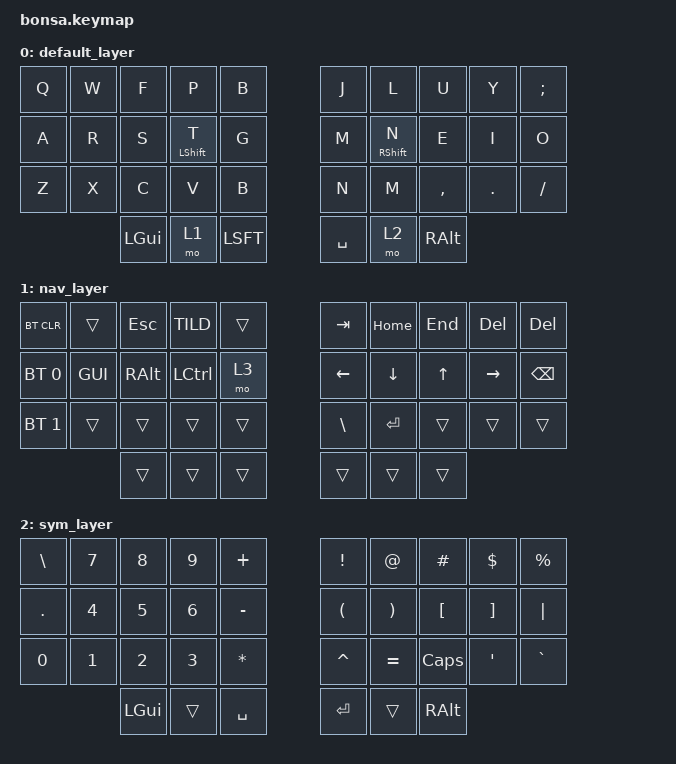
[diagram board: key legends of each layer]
/*
 * Copyright (c) 2020 The ZMK Contributors
 *
 * SPDX-License-Identifier: MIT
 */

#include <behaviors.dtsi>
#include <dt-bindings/zmk/keys.h>
#include <dt-bindings/zmk/bt.h>

#define default_layer 0
#define nav_layer   1
#define sym_layer   2

&mt {
    tapping_term_ms = <130>;
};

/ {
        keymap {
                compatible = "zmk,keymap";

                default_layer {

                        bindings = <
   &kp Q &kp W &kp F &kp P        &kp B         &kp J &kp L         &kp U      &kp Y   &kp SCLN
   &kp A &kp R &kp S &mt LSHIFT T &kp G         &kp M &mt RSHIFT N  &kp E      &kp I   &kp O
   &kp Z &kp X &kp C &kp V        &kp B         &kp N &kp M         &kp COMMA  &kp DOT &kp FSLH
               &kp LGUI &mo 1 &kp LSFT          &kp SPC &mo 2 &kp RALT
                        >;
                };
                nav_layer {

                        bindings = <
   &bt BT_CLR   &trans  &kp ESC  &kp TILD &trans      &kp TAB   &kp HOME  &kp END &kp DEL   &kp DEL
   &bt BT_SEL 0 &kp GUI &kp RALT &kp LCTL &mo 3       &kp LEFT  &kp DOWN  &kp UP  &kp RIGHT &kp BKSP
   &bt BT_SEL 1 &trans  &trans   &trans   &trans      &kp BSLH  &kp RET   &trans   &trans    &trans
                        &trans   &trans   &trans      &trans   &trans   &trans
                        >;
                };

                sym_layer {
                
                        bindings = <
   &kp BSLH  &kp N7    &kp N8    &kp N9    &kp PLUS       &kp EXCL     &kp AT     &kp HASH  &kp DLLR &kp PRCNT
   &kp DOT   &kp N4    &kp N5    &kp N6    &kp MINUS      &kp LPAR     &kp RPAR   &kp LBKT  &kp RBKT &kp PIPE
   &kp N0    &kp N1    &kp N2    &kp N3    &kp STAR       &kp CARET    &kp EQUAL  &kp CAPS  &kp SQT  &kp GRAVE
                       &kp LGUI  &trans    &kp SPC        &kp RET   &trans   &kp RALT
                        >;
                };
              };
          };
